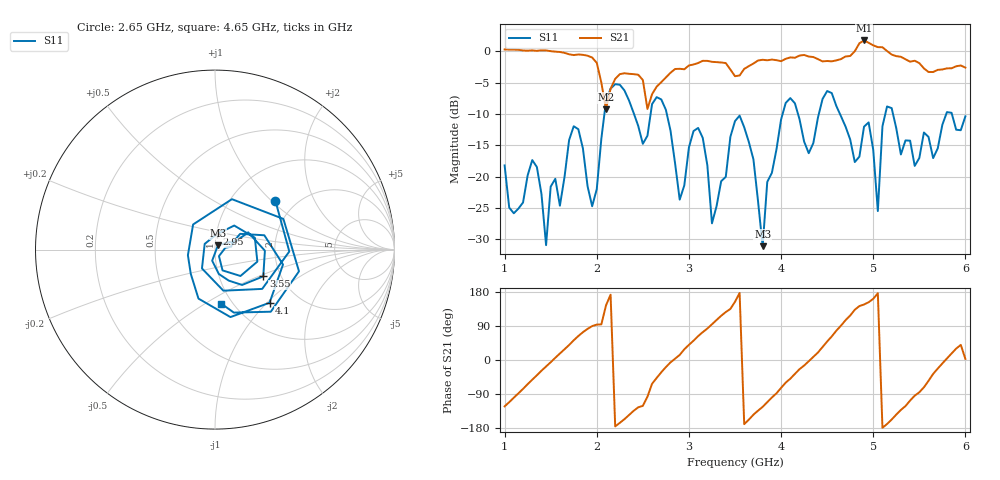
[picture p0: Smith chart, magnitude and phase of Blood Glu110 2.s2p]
! NanoVNA-App
! Date: 2024-03-21 14:24:41
! Start: 1GHz Stop: 6GHz Points: 101
! S-Parameter data: F S11 S21 S12 S22
# Hz S RI R 50
!	Frequency	S11_Real	S11_Imag	S21_Real	S21_Imag	S12_Real	S12_Imag	S22_Real	S22_Imag
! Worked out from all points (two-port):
!   101 points, 1 GHz to 6 GHz, reference 50 ohm
!   highest |S21| = 1.75 dB at 4.9 GHz (marker M1); lowest = -9.2 dB at 2.1 GHz (marker M2)
!   |S21| within 3 dB of the highest: start of sweep to 1.966 GHz; 4.643 GHz to 5.35 GHz (706.3 MHz wide, 14.1 % of centre)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
!   lowest |S11| = -31.1 dB at 3.8 GHz (marker M3), VSWR 1.06, Z = 51.6 + j2.36 ohm
!   |S11| at or under -10 dB: start of sweep to 2.083 GHz; 2.76 GHz to 4.016 GHz (1.256 GHz wide, 37.1 % of centre); 5.215 GHz to 5.792 GHz (577.2 MHz wide, 10.5 % of centre)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
!   S12 and S22 are empty: the file has one direction only
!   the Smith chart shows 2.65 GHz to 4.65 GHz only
!   S11 on the Smith chart (normalised r, x): 2.65 GHz: 1.59, +1.05; 2.95 GHz: 1.00, +0.17; 3.55 GHz: 1.63, -0.54; 4.1 GHz: 1.43, -1.03; 4.65 GHz: 0.89, -0.59
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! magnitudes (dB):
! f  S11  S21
! 1 GHz  -18.2  0.3
! 1.35 GHz  -18.4  0.1
! 1.45 GHz  -30.9  0.2
! 1.85 GHz  -15.5  -0.5
! 1.95 GHz  -24.7  -1.0
! 2.1 GHz  -8.0  -9.2
! 2.65 GHz  -7.3  -5.6
! 2.7 GHz  -7.7  -4.9
! 2.95 GHz  -21.4  -2.8
! 3.1 GHz  -12.2  -1.8
! 3.25 GHz  -27.4  -1.7
! 3.5 GHz  -11.1  -3.9
! 3.55 GHz  -10.2  -3.8
! 3.8 GHz  -31.1  -1.3
! 4.1 GHz  -7.4  -1.0
! 4.35 GHz  -14.6  -0.9
! 4.65 GHz  -10.3  -1.2
! 4.9 GHz  -12.0  1.8
! 5.05 GHz  -25.5  0.7
! 5.2 GHz  -9.0  -0.5
! 5.45 GHz  -18.3  -1.5
! 6 GHz  -10.4  -2.6
